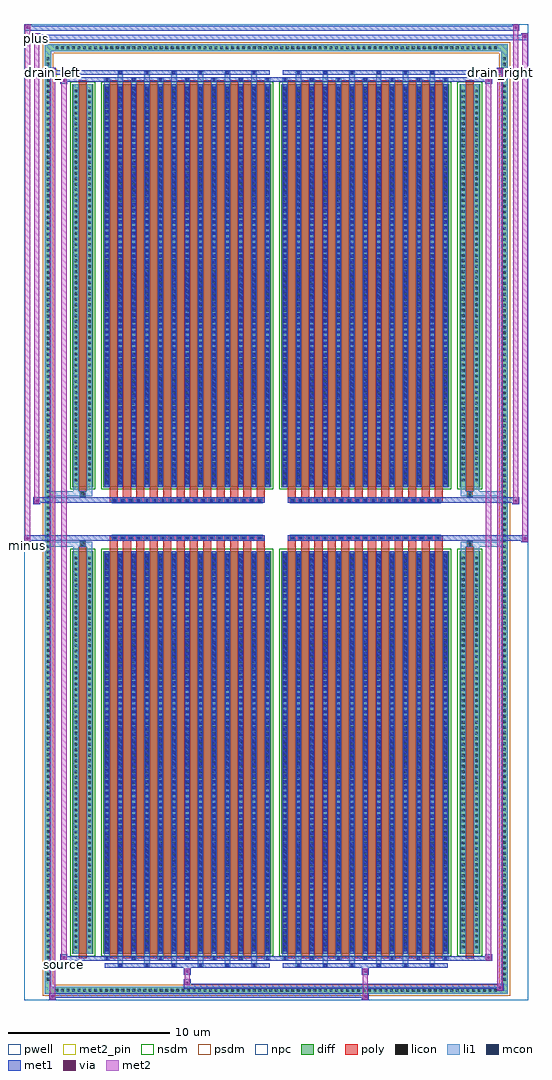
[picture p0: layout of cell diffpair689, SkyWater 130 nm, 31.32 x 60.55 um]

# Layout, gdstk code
import gdstk
lib = gdstk.Library(unit=1e-6, precision=5e-09)
def R(c, l, rs):  # rectangles x0, y0, x1, y1
    for r in rs: c.add(gdstk.rectangle(r[:2], r[2:], *l))
def A(c, l, x, y, w, h, nx, ny, dx, dy):  # array of equal rectangles
    R(c, l, [(x+i*dx, y+j*dy, x+i*dx+w, y+j*dy+h) for i in range(nx) for j in range(ny)])
def P(c, l, *ps):  # polygons
    for p in ps: c.add(gdstk.Polygon(p, *l))
pwell = (64, 44)
diff = (65, 20)
poly = (66, 20)
licon = (66, 44)
li1 = (67, 20)
mcon = (67, 44)
met1 = (68, 20)
via = (68, 44)
met2_pin = (69, 16)
met2 = (69, 20)
nsdm = (93, 44)
psdm = (94, 20)
npc = (95, 20)

diffpair689 = lib.new_cell('diffpair689')
R(diffpair689, pwell, [(-15.64,-29.84,15.64,30.71), (-12.96,-28.03,-0.01,-0.805), (0.01,-28.03,12.96,-0.805), (-12.96,0.805,-0.01,28.03), (0.01,0.805,12.96,28.03)])
A(diffpair689, diff, -13.805, -29.44, 0.41, 0.41, 81, 2, 0.34, 58.47)
A(diffpair689, diff, -14.37, -28.765, 0.41, 0.41, 1, 169, 0, 0.34)
A(diffpair689, diff, 13.96, -28.765, 0.41, 0.41, 1, 169, 0, 0.34)
R(diffpair689, diff, [(-13.805,-29.44,13.805,-29.03), (-14.37,-28.765,-13.96,28.765), (13.96,-28.765,14.37,28.765), (-12.65,-26.985,-11.37,-1.985), (-10.73,-26.985,-0.32,-1.985), (0.32,-26.985,10.73,-1.985), (11.37,-26.985,12.65,-1.985), (-12.65,1.985,-11.37,26.985), (-10.73,1.985,-0.32,26.985), (0.32,1.985,10.73,26.985), (11.37,1.985,12.65,26.985), (-13.805,29.03,13.805,29.44)])
P(diffpair689, diff, [(14.37,29.44),(-14.37,29.44),(-14.37,-29.03),(-13.96,-29.03),(-13.96,29.03),(13.96,29.03),(13.96,-29.03),(-13.96,-29.03),(-14.37,-29.03),(-14.37,-29.44),(14.37,-29.44)])
A(diffpair689, poly, -10.34, -27.235, 0.5, 25.5, 12, 2, 0.83, 28.97)
A(diffpair689, poly, 0.71, -27.235, 0.5, 25.5, 12, 2, 0.83, 28.97)
A(diffpair689, poly, -10.34, -1.735, 0.5, 0.4, 12, 2, 0.83, 3.07)
A(diffpair689, poly, 0.71, -1.735, 0.5, 0.4, 12, 2, 0.83, 3.07)
A(diffpair689, poly, -10.19, -1.335, 0.33, 0.33, 19, 2, 0.5, 2.34)
A(diffpair689, poly, 0.86, -1.335, 0.33, 0.33, 19, 2, 0.5, 2.34)
R(diffpair689, poly, [(-12.26,-27.235,-11.76,-1.735), (11.76,-27.235,12.26,-1.735), (-12.175,-1.735,-11.845,-1.405), (-12.175,-1.735,-11.845,-1.405), (11.845,-1.735,12.175,-1.405), (11.845,-1.735,12.175,-1.405), (-10.34,-1.335,-0.71,-1.005), (0.71,-1.335,10.34,-1.005), (-10.34,1.005,-0.71,1.335), (0.71,1.005,10.34,1.335), (-12.175,1.405,-11.845,1.735), (-12.175,1.405,-11.845,1.735), (11.845,1.405,12.175,1.735), (11.845,1.405,12.175,1.735), (-12.26,1.735,-11.76,27.235), (11.76,1.735,12.26,27.235)])
A(diffpair689, licon, -13.685, -29.32, 0.17, 0.17, 81, 2, 0.34, 58.47)
A(diffpair689, licon, -14.25, -28.645, 0.17, 0.17, 1, 169, 0, 0.34)
A(diffpair689, licon, 14.08, -28.645, 0.17, 0.17, 1, 169, 0, 0.34)
A(diffpair689, licon, -12.51, -26.64, 0.17, 0.17, 1, 72, 0, 0.34)
A(diffpair689, licon, -11.68, -26.64, 0.17, 0.17, 1, 72, 0, 0.34)
A(diffpair689, licon, -10.59, -26.64, 0.17, 0.17, 13, 72, 0.83, 0.34)
A(diffpair689, licon, 0.46, -26.64, 0.17, 0.17, 13, 72, 0.83, 0.34)
A(diffpair689, licon, 11.51, -26.64, 0.17, 0.17, 1, 72, 0, 0.34)
A(diffpair689, licon, 12.34, -26.64, 0.17, 0.17, 1, 72, 0, 0.34)
A(diffpair689, licon, -10.11, -1.255, 0.17, 0.17, 19, 2, 0.5, 2.34)
A(diffpair689, licon, 0.94, -1.255, 0.17, 0.17, 19, 2, 0.5, 2.34)
A(diffpair689, licon, -12.51, 2.33, 0.17, 0.17, 1, 72, 0, 0.34)
A(diffpair689, licon, -11.68, 2.33, 0.17, 0.17, 1, 72, 0, 0.34)
A(diffpair689, licon, -10.59, 2.33, 0.17, 0.17, 13, 72, 0.83, 0.34)
A(diffpair689, licon, 0.46, 2.33, 0.17, 0.17, 13, 72, 0.83, 0.34)
A(diffpair689, licon, 11.51, 2.33, 0.17, 0.17, 1, 72, 0, 0.34)
A(diffpair689, licon, 12.34, 2.33, 0.17, 0.17, 1, 72, 0, 0.34)
R(diffpair689, licon, [(-12.095,-1.655,-11.925,-1.485), (11.925,-1.655,12.095,-1.485), (-12.095,1.485,-11.925,1.655), (11.925,1.485,12.095,1.655)])
A(diffpair689, li1, -13.765, -29.4, 0.33, 0.33, 81, 2, 0.34, 58.47)
A(diffpair689, li1, -14.33, -28.725, 0.33, 0.33, 1, 169, 0, 0.34)
A(diffpair689, li1, 14, -28.725, 0.33, 0.33, 1, 169, 0, 0.34)
A(diffpair689, li1, -9.84, -27.79, 0.33, 0.805, 6, 2, 1.66, 54.775)
A(diffpair689, li1, -9.76, -27.79, 0.17, 0.17, 6, 2, 1.66, 55.41)
A(diffpair689, li1, 1.21, -27.79, 0.33, 0.805, 6, 2, 1.66, 54.775)
A(diffpair689, li1, 1.29, -27.79, 0.17, 0.17, 6, 2, 1.66, 55.41)
A(diffpair689, li1, -10.67, -27.36, 0.33, 0.375, 7, 2, 1.66, 54.345)
A(diffpair689, li1, -10.59, -27.36, 0.17, 0.17, 7, 2, 1.66, 54.55)
A(diffpair689, li1, 0.38, -27.36, 0.33, 0.375, 7, 2, 1.66, 54.345)
A(diffpair689, li1, 0.46, -27.36, 0.17, 0.17, 7, 2, 1.66, 54.55)
A(diffpair689, li1, -10.67, -26.985, 0.33, 25, 13, 2, 0.83, 28.97)
A(diffpair689, li1, 0.38, -26.985, 0.33, 25, 13, 2, 0.83, 28.97)
A(diffpair689, li1, -10.59, -26.81, 0.17, 0.17, 13, 69, 0.83, 0.36)
A(diffpair689, li1, -10.59, -26.81, 0.17, 24.65, 13, 2, 0.83, 28.97)
A(diffpair689, li1, 0.46, -26.81, 0.17, 0.17, 13, 69, 0.83, 0.36)
A(diffpair689, li1, 0.46, -26.81, 0.17, 24.65, 13, 2, 0.83, 28.97)
A(diffpair689, li1, -12.59, -26.72, 0.33, 0.33, 1, 72, 0, 0.34)
A(diffpair689, li1, -11.76, -26.72, 0.33, 0.33, 1, 72, 0, 0.34)
A(diffpair689, li1, -10.67, -26.72, 0.33, 0.33, 13, 72, 0.83, 0.34)
A(diffpair689, li1, 0.38, -26.72, 0.33, 0.33, 13, 72, 0.83, 0.34)
A(diffpair689, li1, 11.43, -26.72, 0.33, 0.33, 1, 72, 0, 0.34)
A(diffpair689, li1, 12.26, -26.72, 0.33, 0.33, 1, 72, 0, 0.34)
A(diffpair689, li1, -10.19, -1.335, 0.33, 0.33, 19, 2, 0.5, 2.34)
A(diffpair689, li1, 0.86, -1.335, 0.33, 0.33, 19, 2, 0.5, 2.34)
A(diffpair689, li1, -10.59, 2.16, 0.17, 0.17, 13, 69, 0.83, 0.36)
A(diffpair689, li1, 0.46, 2.16, 0.17, 0.17, 13, 69, 0.83, 0.36)
A(diffpair689, li1, -12.59, 2.25, 0.33, 0.33, 1, 72, 0, 0.34)
A(diffpair689, li1, -11.76, 2.25, 0.33, 0.33, 1, 72, 0, 0.34)
A(diffpair689, li1, -10.67, 2.25, 0.33, 0.33, 13, 72, 0.83, 0.34)
A(diffpair689, li1, 0.38, 2.25, 0.33, 0.33, 13, 72, 0.83, 0.34)
A(diffpair689, li1, 11.43, 2.25, 0.33, 0.33, 1, 72, 0, 0.34)
A(diffpair689, li1, 12.26, 2.25, 0.33, 0.33, 1, 72, 0, 0.34)
R(diffpair689, li1, [(-14.37,-29.44,-13.96,-29.03), (-14.37,-29.44,-13.96,-29.03), (-13.96,-29.44,13.96,-29.03), (13.96,-29.44,14.37,-29.03), (13.96,-29.44,14.37,-29.03), (-14.37,-29.03,-13.96,29.03), (13.96,-29.03,14.37,29.03), (-12.59,-26.985,-12.26,-1.985), (-11.76,-26.985,-11.43,-1.985), (11.43,-26.985,11.76,-1.985), (12.26,-26.985,12.59,-1.985), (-12.59,-1.985,-12.26,-1.405), (-11.76,-1.985,-11.43,-1.405), (11.43,-1.985,11.76,-1.405), (12.26,-1.985,12.59,-1.405), (-14.37,-1.735,-12.175,-1.405), (-12.59,-1.735,-12.175,-1.405), (-12.175,-1.735,-11.845,-1.405), (-11.845,-1.735,-11.43,-1.405), (11.43,-1.735,11.845,-1.405), (11.845,-1.735,12.175,-1.405), (11.845,-1.735,14.37,-1.405), (12.175,-1.735,12.59,-1.405), (-14.37,1.405,-12.175,1.735), (-12.59,1.405,-12.175,1.735), (-12.59,1.405,-12.26,1.985), (-12.175,1.405,-11.845,1.735), (-11.845,1.405,-11.43,1.735), (-11.76,1.405,-11.43,1.985), (11.43,1.405,11.845,1.735), (11.43,1.405,11.76,1.985), (11.845,1.405,12.175,1.735), (11.845,1.405,14.37,1.735), (12.175,1.405,12.59,1.735), (12.26,1.405,12.59,1.985), (-12.59,1.985,-12.26,26.985), (-11.76,1.985,-11.43,26.985), (11.43,1.985,11.76,26.985), (12.26,1.985,12.59,26.985), (-14.37,29.03,-13.96,29.44), (-14.37,29.03,-13.96,29.44), (-13.96,29.03,13.96,29.44), (13.96,29.03,14.37,29.44), (13.96,29.03,14.37,29.44)])
A(diffpair689, mcon, -9.76, -27.79, 0.17, 0.17, 6, 2, 1.66, 55.41)
A(diffpair689, mcon, 1.29, -27.79, 0.17, 0.17, 6, 2, 1.66, 55.41)
A(diffpair689, mcon, -10.59, -27.36, 0.17, 0.17, 7, 2, 1.66, 54.55)
A(diffpair689, mcon, 0.46, -27.36, 0.17, 0.17, 7, 2, 1.66, 54.55)
A(diffpair689, mcon, -10.59, -26.81, 0.17, 0.17, 13, 69, 0.83, 0.36)
A(diffpair689, mcon, 0.46, -26.81, 0.17, 0.17, 13, 69, 0.83, 0.36)
A(diffpair689, mcon, -10.11, -1.255, 0.17, 0.17, 19, 2, 0.5, 2.34)
A(diffpair689, mcon, 0.94, -1.255, 0.17, 0.17, 19, 2, 0.5, 2.34)
A(diffpair689, mcon, -10.59, 2.16, 0.17, 0.17, 13, 69, 0.83, 0.36)
A(diffpair689, mcon, 0.46, 2.16, 0.17, 0.17, 13, 69, 0.83, 0.36)
A(diffpair689, met1, -9.82, -27.85, 0.29, 0.29, 6, 2, 1.66, 55.41)
A(diffpair689, met1, 1.23, -27.85, 0.29, 0.29, 6, 2, 1.66, 55.41)
A(diffpair689, met1, -10.65, -27.42, 0.29, 0.29, 7, 2, 1.66, 54.55)
A(diffpair689, met1, 0.4, -27.42, 0.29, 0.29, 7, 2, 1.66, 54.55)
A(diffpair689, met1, -10.65, -26.985, 0.29, 25, 13, 2, 0.83, 28.97)
A(diffpair689, met1, 0.4, -26.985, 0.29, 25, 13, 2, 0.83, 28.97)
A(diffpair689, met1, -10.65, -26.87, 0.29, 0.29, 13, 69, 0.83, 0.36)
A(diffpair689, met1, 0.4, -26.87, 0.29, 0.29, 13, 69, 0.83, 0.36)
A(diffpair689, met1, -10.17, -1.315, 0.29, 0.29, 19, 2, 0.5, 2.34)
A(diffpair689, met1, 0.88, -1.315, 0.29, 0.29, 19, 2, 0.5, 2.34)
A(diffpair689, met1, -10.65, 2.1, 0.29, 0.29, 13, 69, 0.83, 0.36)
A(diffpair689, met1, 0.4, 2.1, 0.29, 0.29, 13, 69, 0.83, 0.36)
R(diffpair689, met1, [(-14.1,-29.84,-13.67,-29.41), (5.31,-29.84,5.74,-29.41), (-14.1,-29.7,5.74,-29.41), (13.67,-29.27,14.1,-28.84), (-5.74,-29.13,14.1,-28.84), (-5.74,-28.99,-5.31,-28.56), (-5.74,-28.28,-5.31,-27.85), (5.31,-28.28,5.74,-27.85), (-10.65,-27.85,-0.4,-27.56), (0.4,-27.85,10.65,-27.56), (-13.39,-27.42,-12.96,-26.99), (-13.39,-27.42,-10.65,-27.13), (-10.65,-27.42,-0.4,-27.13), (-0.4,-27.42,0.4,-27.13), (0.4,-27.42,10.65,-27.13), (10.65,-27.42,13.39,-27.13), (12.96,-27.42,13.39,-26.99), (-15.64,-1.435,-15.21,-1.005), (15.21,-1.435,15.64,-1.005), (-15.64,-1.335,-0.71,-1.005), (-10.34,-1.335,-0.71,-1.005), (0.71,-1.335,10.34,-1.005), (0.71,-1.335,15.64,-1.005), (-15.07,0.905,-14.64,1.335), (14.64,0.905,15.07,1.335), (-15.07,1.005,-10.34,1.335), (-10.34,1.005,-0.71,1.335), (0.71,1.005,10.34,1.335), (10.34,1.005,15.07,1.335), (-13.39,26.99,-12.96,27.42), (12.96,26.99,13.39,27.42), (-13.39,27.13,-10.65,27.42), (-10.65,27.13,-0.4,27.42), (-0.4,27.13,0.4,27.42), (0.4,27.13,10.65,27.42), (10.65,27.13,13.39,27.42), (-14.1,27.56,-13.67,27.99), (-14.1,27.56,-10.65,27.85), (-10.65,27.56,-0.4,27.85), (0.4,27.56,10.65,27.85), (10.65,27.56,14.1,27.85), (13.67,27.56,14.1,27.99), (-15.07,29.71,-14.64,30.14), (-15.07,29.71,-12.96,30.04), (-12.96,29.71,12.96,30.04), (12.96,29.71,15.64,30.04), (15.21,29.71,15.64,30.14), (-15.64,30.28,-15.21,30.71), (-15.64,30.28,-12.96,30.61), (-12.96,30.28,12.96,30.61), (12.96,30.28,15.07,30.61), (14.64,30.28,15.07,30.71)])
R(diffpair689, via, [(-13.96,-29.7,-13.81,-29.55), (5.45,-29.7,5.6,-29.55), (13.81,-29.13,13.96,-28.98), (-5.6,-28.85,-5.45,-28.7), (-5.6,-28.14,-5.45,-27.99), (5.45,-28.14,5.6,-27.99), (-13.25,-27.28,-13.1,-27.13), (13.1,-27.28,13.25,-27.13), (-15.5,-1.295,-15.35,-1.145), (15.35,-1.295,15.5,-1.145), (-14.93,1.045,-14.78,1.195), (14.78,1.045,14.93,1.195), (-13.25,27.13,-13.1,27.28), (13.1,27.13,13.25,27.28), (-13.96,27.7,-13.81,27.85), (13.81,27.7,13.96,27.85), (-14.93,29.85,-14.78,30), (15.35,29.85,15.5,30), (-15.5,30.42,-15.35,30.57), (14.78,30.42,14.93,30.57)])
R(diffpair689, met2_pin, [(-13.425,-27.87,-12.925,-27.37), (-15.675,-1.885,-15.175,-1.385), (-14.135,27.44,-13.635,27.94), (13.635,27.44,14.135,27.94), (-15.105,29.59,-14.605,30.09)])
R(diffpair689, met2, [(-14.05,-29.79,-13.72,-29.46), (-14.05,-29.79,-13.72,27.94), (5.36,-29.79,5.69,-29.46), (5.36,-29.46,5.69,-28.23), (13.72,-29.22,14.05,-28.89), (13.72,-29.22,14.05,27.94), (-5.69,-28.94,-5.36,-28.61), (-5.69,-28.61,-5.36,-28.23), (-5.69,-28.23,-5.36,-27.9), (5.36,-28.23,5.69,-27.9), (-13.34,-27.37,-13.01,-27.04), (-13.34,-27.37,-13.01,27.37), (13.01,-27.37,13.34,-27.04), (13.01,-27.37,13.34,27.37), (-15.59,-1.385,-15.26,-1.055), (-15.59,-1.385,-15.26,30.66), (15.26,-1.385,15.59,-1.055), (15.26,-1.385,15.59,30.09), (-15.02,0.955,-14.69,1.285), (-15.02,0.955,-14.69,30.09), (14.69,0.955,15.02,1.285), (14.69,0.955,15.02,30.66), (-13.34,27.04,-13.01,27.37), (13.01,27.04,13.34,27.37), (-14.05,27.61,-13.72,27.94), (13.72,27.61,14.05,27.94), (-15.02,29.76,-14.69,30.09), (15.26,29.76,15.59,30.09), (-15.59,30.33,-15.26,30.66), (14.69,30.33,15.02,30.66)])
P(diffpair689, met2, [(15.59,-1.385),(15.59,-1.385),(15.59,-1.055),(15.59,-1.055)],
  [(15.59,29.76),(15.59,29.76),(15.59,30.09),(15.59,30.09)],
  [(-15.26,-1.385),(-15.26,-1.385),(-15.26,-1.055),(-15.26,-1.055)],
  [(-15.26,30.33),(-15.26,30.33),(-15.26,30.66),(-15.26,30.66)],
  [(15.02,0.955),(15.02,0.955),(15.02,1.285),(15.02,1.285)],
  [(15.02,30.33),(15.02,30.33),(15.02,30.66),(15.02,30.66)],
  [(-14.69,0.955),(-14.69,0.955),(-14.69,1.285),(-14.69,1.285)],
  [(-14.69,29.76),(-14.69,29.76),(-14.69,30.09),(-14.69,30.09)],
  [(-13.72,-29.79),(-13.72,-29.79),(-13.72,-29.46),(-13.72,-29.46)],
  [(-13.72,27.61),(-13.72,27.61),(-13.72,27.94),(-13.72,27.94)],
  [(14.05,-29.22),(14.05,-29.22),(14.05,-28.89),(14.05,-28.89)],
  [(14.05,27.61),(14.05,27.61),(14.05,27.94),(14.05,27.94)],
  [(-13.01,-27.37),(-13.01,-27.37),(-13.01,-27.04),(-13.01,-27.04)],
  [(-13.01,27.04),(-13.01,27.04),(-13.01,27.37),(-13.01,27.37)],
  [(13.34,-27.37),(13.34,-27.37),(13.34,-27.04),(13.34,-27.04)],
  [(13.34,27.04),(13.34,27.04),(13.34,27.37),(13.34,27.37)])
R(diffpair689, nsdm, [(-12.78,-27.115,-11.24,-1.855), (-10.86,-27.115,-0.19,-1.855), (0.19,-27.115,10.86,-1.855), (11.24,-27.115,12.78,-1.855), (-12.78,1.855,-11.24,27.115), (-10.86,1.855,-0.19,27.115), (0.19,1.855,10.86,27.115), (11.24,1.855,12.78,27.115)])
P(diffpair689, psdm, [(14.5,29.57),(-14.5,29.57),(-14.5,-28.9),(-13.83,-28.9),(-13.83,28.9),(13.83,28.9),(13.83,-28.9),(-13.83,-28.9),(-14.5,-28.9),(-14.5,-29.57),(14.5,-29.57)])
A(diffpair689, npc, -10.21, -1.355, 0.37, 0.37, 19, 2, 0.5, 2.34)
A(diffpair689, npc, 0.84, -1.355, 0.37, 0.37, 19, 2, 0.5, 2.34)
R(diffpair689, npc, [(-12.195,-1.755,-11.825,-1.385), (11.825,-1.755,12.195,-1.385), (-10.21,-1.355,-9.34,-0.985), (-10.21,-1.355,-9.34,-0.985), (-9.71,-1.355,-8.84,-0.985), (-9.71,-1.355,-8.84,-0.985), (-9.21,-1.355,-8.34,-0.985), (-9.21,-1.355,-8.34,-0.985), (-8.71,-1.355,-7.84,-0.985), (-8.71,-1.355,-7.84,-0.985), (-8.21,-1.355,-7.34,-0.985), (-8.21,-1.355,-7.34,-0.985), (-7.71,-1.355,-6.84,-0.985), (-7.71,-1.355,-6.84,-0.985), (-7.21,-1.355,-6.34,-0.985), (-7.21,-1.355,-6.34,-0.985), (-6.71,-1.355,-5.84,-0.985), (-6.71,-1.355,-5.84,-0.985), (-6.21,-1.355,-5.34,-0.985), (-6.21,-1.355,-5.34,-0.985), (-5.71,-1.355,-4.84,-0.985), (-5.71,-1.355,-4.84,-0.985), (-5.21,-1.355,-4.34,-0.985), (-5.21,-1.355,-4.34,-0.985), (-4.71,-1.355,-3.84,-0.985), (-4.71,-1.355,-3.84,-0.985), (-4.21,-1.355,-3.34,-0.985), (-4.21,-1.355,-3.34,-0.985), (-3.71,-1.355,-2.84,-0.985), (-3.71,-1.355,-2.84,-0.985), (-3.21,-1.355,-2.34,-0.985), (-3.21,-1.355,-2.34,-0.985), (-2.71,-1.355,-1.84,-0.985), (-2.71,-1.355,-1.84,-0.985), (-2.21,-1.355,-1.34,-0.985), (-2.21,-1.355,-1.34,-0.985), (-1.71,-1.355,-0.84,-0.985), (-1.71,-1.355,-0.84,-0.985), (0.84,-1.355,1.71,-0.985), (0.84,-1.355,1.71,-0.985), (1.34,-1.355,2.21,-0.985), (1.34,-1.355,2.21,-0.985), (1.84,-1.355,2.71,-0.985), (1.84,-1.355,2.71,-0.985), (2.34,-1.355,3.21,-0.985), (2.34,-1.355,3.21,-0.985), (2.84,-1.355,3.71,-0.985), (2.84,-1.355,3.71,-0.985), (3.34,-1.355,4.21,-0.985), (3.34,-1.355,4.21,-0.985), (3.84,-1.355,4.71,-0.985), (3.84,-1.355,4.71,-0.985), (4.34,-1.355,5.21,-0.985), (4.34,-1.355,5.21,-0.985), (4.84,-1.355,5.71,-0.985), (4.84,-1.355,5.71,-0.985), (5.34,-1.355,6.21,-0.985), (5.34,-1.355,6.21,-0.985), (5.84,-1.355,6.71,-0.985), (5.84,-1.355,6.71,-0.985), (6.34,-1.355,7.21,-0.985), (6.34,-1.355,7.21,-0.985), (6.84,-1.355,7.71,-0.985), (6.84,-1.355,7.71,-0.985), (7.34,-1.355,8.21,-0.985), (7.34,-1.355,8.21,-0.985), (7.84,-1.355,8.71,-0.985), (7.84,-1.355,8.71,-0.985), (8.34,-1.355,9.21,-0.985), (8.34,-1.355,9.21,-0.985), (8.84,-1.355,9.71,-0.985), (8.84,-1.355,9.71,-0.985), (9.34,-1.355,10.21,-0.985), (9.34,-1.355,10.21,-0.985), (-10.21,0.985,-9.34,1.355), (-10.21,0.985,-9.34,1.355), (-9.71,0.985,-8.84,1.355), (-9.71,0.985,-8.84,1.355), (-9.21,0.985,-8.34,1.355), (-9.21,0.985,-8.34,1.355), (-8.71,0.985,-7.84,1.355), (-8.71,0.985,-7.84,1.355), (-8.21,0.985,-7.34,1.355), (-8.21,0.985,-7.34,1.355), (-7.71,0.985,-6.84,1.355), (-7.71,0.985,-6.84,1.355), (-7.21,0.985,-6.34,1.355), (-7.21,0.985,-6.34,1.355), (-6.71,0.985,-5.84,1.355), (-6.71,0.985,-5.84,1.355), (-6.21,0.985,-5.34,1.355), (-6.21,0.985,-5.34,1.355), (-5.71,0.985,-4.84,1.355), (-5.71,0.985,-4.84,1.355), (-5.21,0.985,-4.34,1.355), (-5.21,0.985,-4.34,1.355), (-4.71,0.985,-3.84,1.355), (-4.71,0.985,-3.84,1.355), (-4.21,0.985,-3.34,1.355), (-4.21,0.985,-3.34,1.355), (-3.71,0.985,-2.84,1.355), (-3.71,0.985,-2.84,1.355), (-3.21,0.985,-2.34,1.355), (-3.21,0.985,-2.34,1.355), (-2.71,0.985,-1.84,1.355), (-2.71,0.985,-1.84,1.355), (-2.21,0.985,-1.34,1.355), (-2.21,0.985,-1.34,1.355), (-1.71,0.985,-0.84,1.355), (-1.71,0.985,-0.84,1.355), (0.84,0.985,1.71,1.355), (0.84,0.985,1.71,1.355), (1.34,0.985,2.21,1.355), (1.34,0.985,2.21,1.355), (1.84,0.985,2.71,1.355), (1.84,0.985,2.71,1.355), (2.34,0.985,3.21,1.355), (2.34,0.985,3.21,1.355), (2.84,0.985,3.71,1.355), (2.84,0.985,3.71,1.355), (3.34,0.985,4.21,1.355), (3.34,0.985,4.21,1.355), (3.84,0.985,4.71,1.355), (3.84,0.985,4.71,1.355), (4.34,0.985,5.21,1.355), (4.34,0.985,5.21,1.355), (4.84,0.985,5.71,1.355), (4.84,0.985,5.71,1.355), (5.34,0.985,6.21,1.355), (5.34,0.985,6.21,1.355), (5.84,0.985,6.71,1.355), (5.84,0.985,6.71,1.355), (6.34,0.985,7.21,1.355), (6.34,0.985,7.21,1.355), (6.84,0.985,7.71,1.355), (6.84,0.985,7.71,1.355), (7.34,0.985,8.21,1.355), (7.34,0.985,8.21,1.355), (7.84,0.985,8.71,1.355), (7.84,0.985,8.71,1.355), (8.34,0.985,9.21,1.355), (8.34,0.985,9.21,1.355), (8.84,0.985,9.71,1.355), (8.84,0.985,9.71,1.355), (9.34,0.985,10.21,1.355), (9.34,0.985,10.21,1.355), (-12.195,1.385,-11.825,1.755), (11.825,1.385,12.195,1.755)])
diffpair689.add(gdstk.Label('minus', (-15.425,-1.635), layer=69, texttype=5))
diffpair689.add(gdstk.Label('drain_right', (13.885,27.69), layer=69, texttype=5))
diffpair689.add(gdstk.Label('drain_left', (-13.885,27.69), layer=69, texttype=5))
diffpair689.add(gdstk.Label('source', (-13.175,-27.62), layer=69, texttype=5))
diffpair689.add(gdstk.Label('plus', (-14.855,29.84), layer=69, texttype=5))

lib.write_gds('diffpair689.gds')
